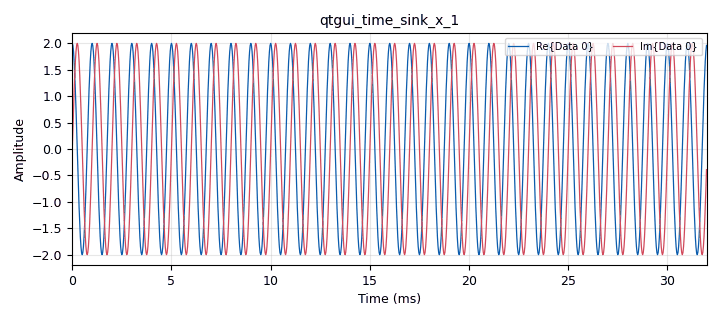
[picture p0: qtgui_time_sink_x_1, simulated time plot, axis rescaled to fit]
options:
  parameters:
    author: iTartar
    generate_options: qt_gui
    id: Praktikum1
    output_language: python
    title: Praktikum 1
  states: {}

blocks:
- name: amplitude
  id: variable_qtgui_range
  parameters:
    start: '-2'
    step: '0.01'
    stop: '2'
    value: '1'
  states: {state: disabled}
- name: frekuensi
  id: variable
  parameters:
    value: '500'
  states: {state: disabled}
- name: frekuensi
  id: variable_qtgui_range
  parameters:
    start: '20'
    step: '10'
    stop: '20000'
    value: '1000'
  states: {state: disabled}
- name: offset
  id: variable_qtgui_range
  parameters:
    start: '-2'
    step: '0.1'
    stop: '2'
    value: '0'
  states: {state: disabled}
- name: samp_rate
  id: variable
  parameters:
    value: '32000'
  states: {}
- name: volume
  id: variable_qtgui_range
  parameters:
    start: '0'
    step: '0.001'
    stop: '1.5'
    value: '0.1'
  states: {state: disabled}
- name: waveform
  id: variable_qtgui_chooser
  parameters:
    label0: Sine
    label1: Cosine
    label2: Square
    label3: Triangle
    label4: Sawtooth
    num_opts: '5'
    option0: '101'
    option1: '102'
    option2: '103'
    option3: '104'
    option4: '105'
    orient: Qt.QHBoxLayout
    type: int
    value: '101'
    widget: radio_buttons
  states: {state: disabled}
- name: analog_random_source_x_0
  id: analog_random_source_x
  parameters:
    max: '2'
    min: '0'
    num_samps: '1000'
    repeat: 'True'
    type: byte
  states: {state: disabled}
- name: analog_sig_source_x_0
  id: analog_sig_source_x
  parameters:
    amp: amplitude
    freq: frekuensi
    offset: '0'
    phase: '0'
    samp_rate: samp_rate
    type: float
    waveform: waveform
  states: {state: disabled}
- name: analog_sig_source_x_0_0
  id: analog_sig_source_x
  parameters:
    amp: '1'
    freq: frekuensi
    offset: '0'
    phase: '0'
    samp_rate: samp_rate
    type: float
    waveform: analog.GR_SIN_WAVE
  states: {state: disabled}
- name: analog_sig_source_x_1
  id: analog_sig_source_x
  parameters:
    amp: '1'
    freq: '1000'
    offset: '0'
    phase: '0'
    samp_rate: samp_rate
    type: complex
    waveform: analog.GR_SIN_WAVE
  states: {state: disabled}
- name: analog_sig_source_x_2
  id: analog_sig_source_x
  parameters:
    amp: '1'
    freq: '1000'
    offset: '0'
    phase: '0'
    samp_rate: samp_rate
    type: complex
    waveform: analog.GR_COS_WAVE
  states: {}
- name: analog_sig_source_x_2_0
  id: analog_sig_source_x
  parameters:
    amp: '1'
    freq: '1000'
    offset: '0'
    phase: '0'
    samp_rate: samp_rate
    type: complex
    waveform: analog.GR_COS_WAVE
  states: {}
- name: audio_sink_0
  id: audio_sink
  parameters:
    samp_rate: samp_rate
  states: {state: disabled}
- name: audio_sink_0_0
  id: audio_sink
  parameters:
    samp_rate: samp_rate
  states: {state: disabled}
- name: blocks_add_xx_0
  id: blocks_add_xx
  parameters:
    type: complex
  states: {}
- name: blocks_char_to_float_0
  id: blocks_char_to_float
  parameters:
    scale: '1'
  states: {state: disabled}
- name: blocks_char_to_float_0_0
  id: blocks_char_to_float
  parameters:
    scale: '1'
  states: {state: disabled}
- name: blocks_char_to_float_0_1
  id: blocks_char_to_float
  parameters:
    scale: '1'
  states: {state: disabled}
- name: blocks_multiply_const_vxx_0
  id: blocks_multiply_const_vxx
  parameters:
    const: volume
    type: float
  states: {state: disabled}
- name: blocks_pack_k_bits_bb_0
  id: blocks_pack_k_bits_bb
  parameters:
    k: '4'
  states: {state: disabled}
- name: blocks_throttle2_0
  id: blocks_throttle2
  parameters:
    samples_per_second: samp_rate
    type: float
  states: {state: disabled}
- name: blocks_throttle2_0_0
  id: blocks_throttle2
  parameters:
    samples_per_second: samp_rate
    type: float
  states: {state: disabled}
- name: blocks_throttle2_0_1
  id: blocks_throttle2
  parameters:
    samples_per_second: samp_rate
    type: complex
  states: {state: disabled}
- name: blocks_throttle2_0_1_0
  id: blocks_throttle2
  parameters:
    samples_per_second: samp_rate
    type: byte
  states: {state: disabled}
- name: blocks_throttle2_1
  id: blocks_throttle2
  parameters:
    samples_per_second: samp_rate
    type: complex
  states: {}
- name: blocks_throttle2_1_0
  id: blocks_throttle2
  parameters:
    samples_per_second: samp_rate
    type: complex
  states: {}
- name: qtgui_freq_sink_x_0
  id: qtgui_freq_sink_x
  parameters:
    bw: samp_rate
    fc: '0'
    fftsize: '1024'
    type: float
  states: {state: disabled}
- name: qtgui_freq_sink_x_0_0
  id: qtgui_freq_sink_x
  parameters:
    bw: samp_rate
    fc: '0'
    fftsize: '1024'
    type: float
  states: {state: disabled}
- name: qtgui_freq_sink_x_0_0_0_0
  id: qtgui_freq_sink_x
  parameters:
    bw: samp_rate
    fc: '0'
    fftsize: '1024'
    type: complex
  states: {state: disabled}
- name: qtgui_histogram_sink_x_0
  id: qtgui_histogram_sink_x
  parameters:
    bins: '1024'
    name: 4 Bits
    size: '1024'
    type: float
    xmax: '16'
    xmin: '-1'
  states: {state: disabled}
- name: qtgui_histogram_sink_x_0_0
  id: qtgui_histogram_sink_x
  parameters:
    bins: '1024'
    name: 1 Bits
    size: '1024'
    type: float
    xmax: '16'
    xmin: '-1'
  states: {state: disabled}
- name: qtgui_sink_x_0
  id: qtgui_sink_x
  parameters:
    bw: samp_rate
    fc: '0'
    fftsize: '1024'
    type: complex
  states: {state: disabled}
- name: qtgui_sink_x_0_0
  id: qtgui_sink_x
  parameters:
    bw: samp_rate
    fc: '0'
    fftsize: '1024'
    type: float
  states: {state: disabled}
- name: qtgui_time_sink_x_0
  id: qtgui_time_sink_x
  parameters:
    color1: dark blue
    size: '256'
    srate: samp_rate
    type: float
    ymax: '3'
    ymin: '-3'
  states: {state: disabled}
- name: qtgui_time_sink_x_0_0
  id: qtgui_time_sink_x
  parameters:
    color1: dark blue
    size: '256'
    srate: samp_rate
    type: float
    ymax: '3'
    ymin: '-3'
  states: {state: disabled}
- name: qtgui_time_sink_x_0_0_0_0
  id: qtgui_time_sink_x
  parameters:
    color1: dark blue
    size: '256'
    srate: samp_rate
    type: complex
    ymax: '3'
    ymin: '-3'
  states: {state: disabled}
- name: qtgui_time_sink_x_1
  id: qtgui_time_sink_x
  parameters:
    size: '1024'
    srate: samp_rate
    type: complex
  states: {}

connections:
- [analog_random_source_x_0, '0', blocks_throttle2_0_1_0, '0']
- [analog_sig_source_x_0, '0', blocks_throttle2_0, '0']
- [analog_sig_source_x_0_0, '0', blocks_throttle2_0_0, '0']
- [analog_sig_source_x_1, '0', blocks_throttle2_0_1, '0']
- [analog_sig_source_x_2, '0', blocks_throttle2_1, '0']
- [analog_sig_source_x_2_0, '0', blocks_throttle2_1_0, '0']
- [blocks_add_xx_0, '0', qtgui_time_sink_x_1, '0']
- [blocks_char_to_float_0, '0', qtgui_sink_x_0_0, '0']
- [blocks_char_to_float_0_0, '0', qtgui_histogram_sink_x_0, '0']
- [blocks_char_to_float_0_1, '0', qtgui_histogram_sink_x_0_0, '0']
- [blocks_multiply_const_vxx_0, '0', audio_sink_0, '0']
- [blocks_multiply_const_vxx_0, '0', qtgui_freq_sink_x_0, '0']
- [blocks_multiply_const_vxx_0, '0', qtgui_time_sink_x_0, '0']
- [blocks_pack_k_bits_bb_0, '0', blocks_char_to_float_0_0, '0']
- [blocks_throttle2_0, '0', blocks_multiply_const_vxx_0, '0']
- [blocks_throttle2_0_0, '0', audio_sink_0_0, '0']
- [blocks_throttle2_0_0, '0', qtgui_freq_sink_x_0_0, '0']
- [blocks_throttle2_0_0, '0', qtgui_time_sink_x_0_0, '0']
- [blocks_throttle2_0_1, '0', qtgui_freq_sink_x_0_0_0_0, '0']
- [blocks_throttle2_0_1, '0', qtgui_sink_x_0, '0']
- [blocks_throttle2_0_1, '0', qtgui_time_sink_x_0_0_0_0, '0']
- [blocks_throttle2_0_1_0, '0', blocks_char_to_float_0, '0']
- [blocks_throttle2_0_1_0, '0', blocks_char_to_float_0_1, '0']
- [blocks_throttle2_0_1_0, '0', blocks_pack_k_bits_bb_0, '0']
- [blocks_throttle2_1, '0', blocks_add_xx_0, '0']
- [blocks_throttle2_1_0, '0', blocks_add_xx_0, '1']

metadata:
  file_format: 1
  grc_version: 3.10.12.0
